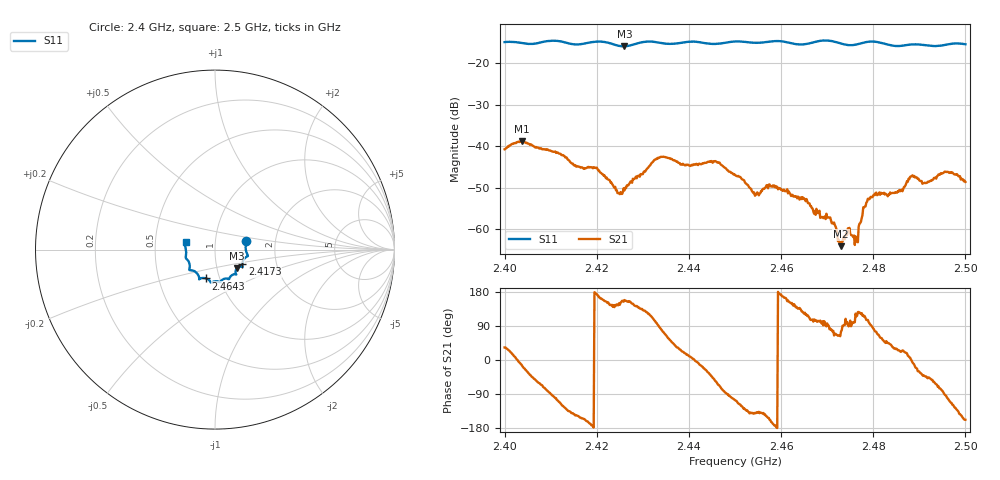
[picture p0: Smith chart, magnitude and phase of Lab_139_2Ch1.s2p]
# Hz S RI R 50
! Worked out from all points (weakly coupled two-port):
!   601 points, 2.4 GHz to 2.5 GHz, reference 50 ohm
!   highest |S21| = -38.85 dB at 2.4037 GHz (marker M1); lowest = -64.1 dB at 2.473 GHz (marker M2)
!   lowest |S11| = -15.9 dB at 2.426 GHz (marker M3), VSWR 1.38, Z = 62.1 - j13.4 ohm
!   |S11| at or under -10 dB: start of sweep to end of sweep
!   S12 and S22 are empty: the file has one direction only
!   S11 on the Smith chart (normalised r, x): 2.4 GHz: 1.41, +0.14; 2.4173 GHz: 1.34, -0.23; 2.4643 GHz: 0.86, -0.28; 2.5 GHz: 0.72, +0.06
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2.4e9  0.1731 0.0484  0.0077 0.00502  0 0  0 0
2.403667e9  0.1729 0.0286  0.0112 -0.00245  0 0  0 0
2.416667e9  0.1528 -0.0747  -0.00499 -0.00245  0 0  0 0
2.417333e9  0.1519 -0.0821  -0.00498 -0.00223  0 0  0 0
2.426e9  0.1205 -0.105  -0.00272 0.00109  0 0  0 0
2.433333e9  0.1128 -0.137  -0.000234 0.00728  0 0  0 0
2.445833e9  0.0484 -0.164  0.00363 -0.00549  0 0  0 0
2.45e9  0.0289 -0.1809  -0.00122 -0.00434  0 0  0 0
2.454167e9  0.00894 -0.1763  -0.00211 -0.00179  0 0  0 0
2.457833e9  -0.0183 -0.1823  -0.00317 -0.000945  0 0  0 0
2.464333e9  -0.0499 -0.1607  -0.00162 0.0018  0 0  0 0
2.466667e9  -0.076 -0.1591  -0.000505 0.00173  0 0  0 0
2.470333e9  -0.0878 -0.1652  -2.18e-05 0.00139  0 0  0 0
2.473e9  -0.0911 -0.1468  0.000165 0.000603  0 0  0 0
2.4745e9  -0.1017 -0.1309  -3.47e-05 0.00102  0 0  0 0
2.476167e9  -0.118 -0.1186  -0.00044 0.000692  0 0  0 0
2.479e9  -0.1409 -0.1149  -0.000411 0.00229  0 0  0 0
2.483333e9  -0.1406 -0.09  0.00186 0.00185  0 0  0 0
2.4885e9  -0.1618 -0.0479  0.00443 -0.000478  0 0  0 0
2.491167e9  -0.1618 -0.0331  0.00267 -0.00247  0 0  0 0
2.496e9  -0.1667 0.0198  -0.000782 -0.00482  0 0  0 0
2.5e9  -0.1637 0.0425  -0.00345 -0.00141  0 0  0 0
